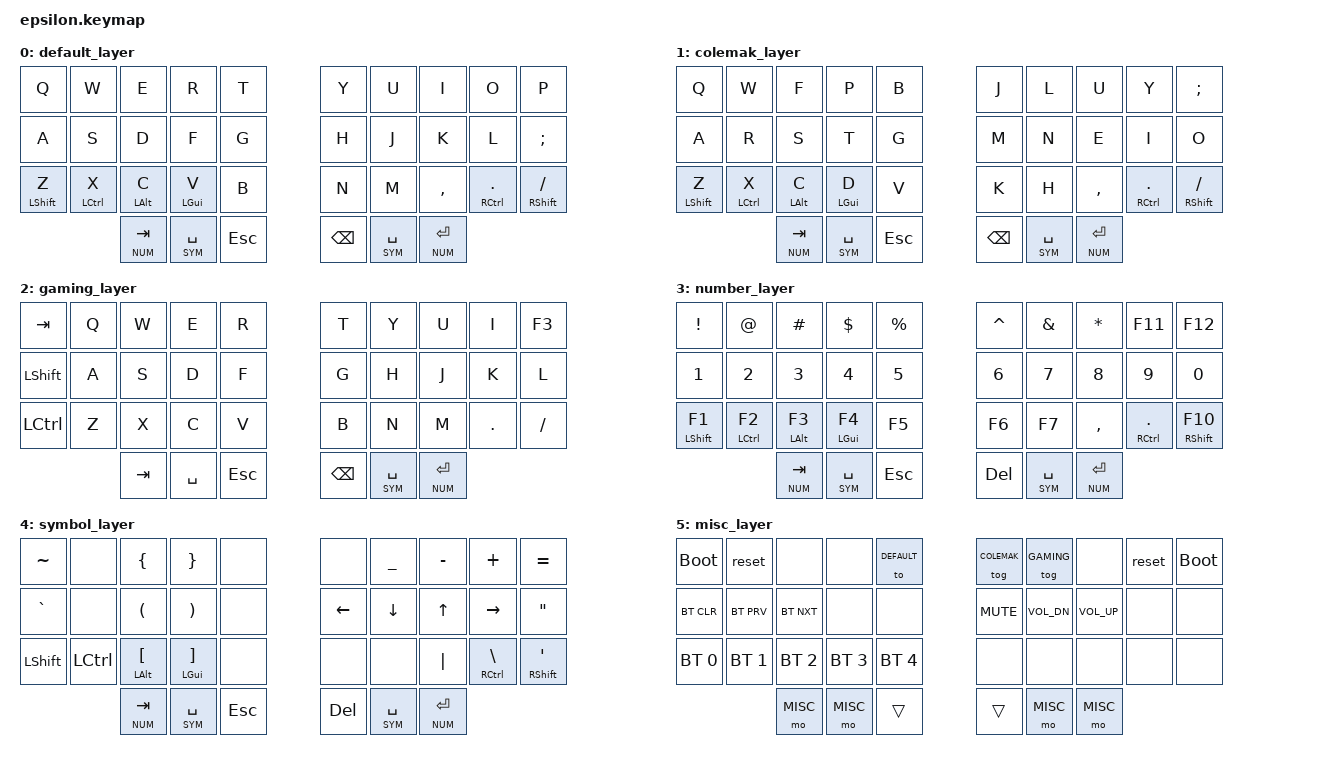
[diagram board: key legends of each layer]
/*
 * Copyright (c) 2020 The ZMK Contributors
 *
 * SPDX-License-Identifier: MIT
 */

#include <behaviors.dtsi>
#include <dt-bindings/zmk/keys.h>
#include <dt-bindings/zmk/bt.h>
#include <dt-bindings/zmk/mouse.h>


&mt {
    tapping-term-ms = <200>;
    flavor = "hold-preferred";
 };
&sk {
     release-after-ms = <2000>;
     quick-release;
 };

#define DEFAULT 0
#define COLEMAK 1
#define GAMING 2
#define NUM 3
#define SYM 4
#define MISC 5

/ { 
    behaviors {
        hm: homerow_mods {
            compatible = "zmk,behavior-hold-tap";
            label = "HOMEROW_MODS";
            #binding-cells = <2>;
            tapping-term-ms = <150>;
            quick_tap_ms = <0>;
            flavor = "tap-preferred";
            bindings = <&kp>, <&kp>;
        };

    };

    conditional_layers {
        compatible = "zmk,conditional-layers";
        tri_layer {
            if-layers = <NUM SYM>;
            then-layer = <MISC>;
        };
    };

    keymap {
        compatible = "zmk,keymap";
                
        default_layer {
            bindings = <
                    &kp Q           &kp W           &kp E           &kp R           &kp T                       &kp Y           &kp U           &kp I           &kp O           &kp P
                    &kp A           &kp S           &kp D           &kp F           &kp G                       &kp H           &kp J           &kp K           &kp L           &kp SEMI
                    &hm LSHFT Z     &hm LCTRL X     &hm LALT C      &hm LGUI V      &kp B                       &kp N           &kp M           &kp COMMA       &hm RCTRL DOT   &hm RSHFT SLASH
                                                    &lt NUM TAB     &lt SYM SPACE   &kp ESC                     &kp BSPC        &lt SYM SPACE   &lt NUM ENTER
            >;
        };
        colemak_layer {
            bindings = <
                    &kp Q           &kp W           &kp F           &kp P           &kp B                       &kp J           &kp L           &kp U           &kp Y           &kp SEMI
                    &kp A           &kp R           &kp S           &kp T           &kp G                       &kp M           &kp N           &kp E           &kp I           &kp O
                    &hm LSHFT Z     &hm LCTRL X     &hm LALT C      &hm LGUI D      &kp V                       &kp K           &kp H           &kp COMMA       &hm RCTRL DOT   &hm RSHFT SLASH
                                                    &lt NUM TAB     &lt SYM SPACE   &kp ESC                     &kp BSPC        &lt SYM SPACE   &lt NUM ENTER
            >;
        };
        gaming_layer {
            bindings = <
                    &kp TAB         &kp Q           &kp W           &kp E           &kp R                       &kp T           &kp Y           &kp U           &kp I           &kp F3
                    &kp LSHIFT      &kp A           &kp S           &kp D           &kp F                       &kp G           &kp H           &kp J           &kp K           &kp L
                    &kp LCTRL       &kp Z           &kp X           &kp C           &kp V                       &kp B           &kp N           &kp M           &kp DOT         &kp SLASH
                                                    &kp TAB         &kp SPACE       &kp ESC                     &kp BSPC        &lt SYM SPACE   &lt NUM ENTER
            >;
        };
        number_layer {
            bindings = <
                    &kp EXCL        &kp AT          &kp HASH        &kp DLLR        &kp PRCNT                   &kp CARET       &kp AMPS        &kp STAR        &kp F11         &kp F12
                    &kp N1          &kp N2          &kp N3          &kp N4          &kp N5                      &kp N6          &kp N7          &kp N8          &kp N9          &kp N0
                    &hm LSHFT F1    &hm LCTRL F2    &hm LALT F3     &hm LGUI F4     &kp F5                      &kp F6          &kp F7          &kp COMMA       &hm RCTRL DOT   &hm RSHFT F10
                                                    &lt NUM TAB     &lt SYM SPACE   &kp ESC                     &kp DEL         &lt SYM SPACE   &lt NUM ENTER
            >;
        };
        symbol_layer {
            bindings = <
                    &kp TILDE       &none           &kp LBRC        &kp RBRC        &none                       &none           &kp UNDER       &kp MINUS       &kp PLUS        &kp EQUAL
                    &kp GRAVE       &none           &kp LPAR        &kp RPAR        &none                       &kp LEFT        &kp DOWN        &kp UP          &kp RIGHT       &kp DQT
                    &kp LSHFT       &kp LCTRL       &hm LALT LBKT   &hm LGUI RBKT   &none                       &none           &none           &kp PIPE        &hm RCTRL BSLH  &hm RSHFT SQT
                                                    &lt NUM TAB     &lt SYM SPACE   &kp ESC                     &kp DEL         &lt SYM SPACE   &lt NUM ENTER
            >;
        };
        misc_layer {
            bindings = <
                    &bootloader     &reset          &none           &none           &to DEFAULT                 &tog COLEMAK    &tog GAMING     &none           &reset          &bootloader          
                    &bt BT_CLR      &bt BT_PRV      &bt BT_NXT      &none           &none                       &kp C_MUTE      &kp C_VOL_DN    &kp C_VOL_UP    &none           &none          
                    &bt BT_SEL 0    &bt BT_SEL 1    &bt BT_SEL 2    &bt BT_SEL 3    &bt BT_SEL 4                &none           &none           &none           &none           &none          
                                                    &mo MISC        &mo MISC        &trans                      &trans          &mo MISC        &mo MISC
            >;
        };
               
	};
};
